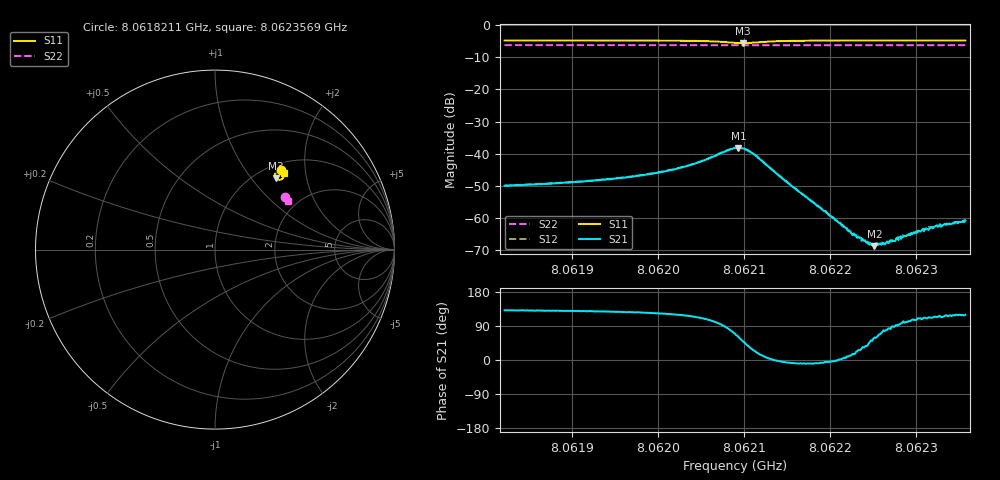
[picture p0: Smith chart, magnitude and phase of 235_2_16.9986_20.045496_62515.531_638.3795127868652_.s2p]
#  HZ  S  RI  R  50.00
! Rohde & Schwarz Vector Network Analyzer
! Rohde-Schwarz,ZNB20-2Port,1311601062101988,3.16
! Created: UTC 3/20/2024, 11:02:38 PM
! freq[Hz]  re:S11  im:S11  re:S21  im:S21  re:S12  im:S12  re:S22  im:S22
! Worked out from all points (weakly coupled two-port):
!   401 points, 8.0618211 GHz to 8.0623569 GHz, reference 50 ohm
!   highest |S21| = -38.18 dB at 8.062093 GHz (marker M1); lowest = -68.7 dB at 8.0622511 GHz (marker M2)
!   lowest |S11| = -5.6 dB at 8.0620984 GHz (marker M3), VSWR 3.19, Z = 61.4 + j67 ohm
!   |S11| at or under -10 dB: nowhere
!   |S22| runs from -6.3 to -6.2 dB; largest |S21 - S12| = 0.0009
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8.06182112e9  0.3653 0.4452  -0.00208 0.00238  -0.00197 0.00252  0.3876 0.2956
8.06191086e9  0.3719 0.4393  -0.00231 0.00288  -0.00213 0.00301  0.3908 0.2911
8.06196175e9  0.3761 0.4345  -0.00255 0.00344  -0.00238 0.00363  0.3926 0.2886
8.06200059e9  0.3799 0.4292  -0.00278 0.00428  -0.00254 0.0045  0.3938 0.2866
8.06204077e9  0.3838 0.4184  -0.00285 0.00627  -0.00253 0.00646  0.3952 0.284
8.06208899e9  0.3571 0.3889  0.00439 0.0113  0.0052 0.0112  0.395 0.2809
8.06209301e9  0.3497 0.3906  0.00602 0.0108  0.00677 0.0104  0.3948 0.2809
8.06209837e9  0.3408 0.3962  0.00791 0.00907  0.00836 0.00871  0.3946 0.2811
8.06211176e9  0.3339 0.4186  0.00881 0.00398  0.00897 0.00334  0.3951 0.2817
8.06214659e9  0.3551 0.4391  0.00384 -0.000361  0.00384 -0.000629  0.3975 0.2807
8.06217873e9  0.3662 0.4386  0.00178 -0.000294  0.00175 -0.000396  0.3989 0.2788
8.06222293e9  0.3743 0.4356  0.000602 0.000124  0.000616 9.54e-05  0.4007 0.2765
8.06223364e9  0.3755 0.4347  0.000441 0.000216  0.000458 0.000182  0.4009 0.276
8.06224034e9  0.3763 0.4343  0.000362 0.000265  0.000368 0.000234  0.4014 0.2756
8.0622457e9  0.377 0.4339  0.000279 0.000304  0.000279 0.00027  0.4015 0.2753
8.06225106e9  0.3776 0.4337  0.000186 0.000314  0.000226 0.000315  0.4017 0.2751
8.06226177e9  0.3787 0.4328  7.9e-05 0.000389  0.000111 0.000392  0.402 0.2746
8.06226847e9  0.3794 0.4323  4.92e-05 0.000435  6.96e-05 0.00041  0.4023 0.274
8.06229927e9  0.3821 0.4304  -0.000167 0.00059  -0.00015 0.000598  0.4033 0.2726
8.06231401e9  0.3833 0.4295  -0.000252 0.000603  -0.000226 0.000694  0.4037 0.2719
8.06232472e9  0.3843 0.4289  -0.000295 0.000669  -0.000278 0.000718  0.404 0.2713
8.06235687e9  0.3865 0.4271  -0.000447 0.000801  -0.000397 0.000816  0.4051 0.2697
